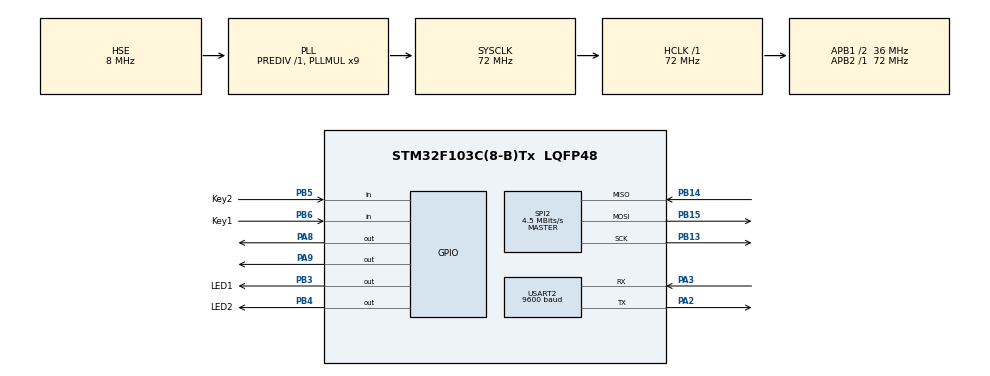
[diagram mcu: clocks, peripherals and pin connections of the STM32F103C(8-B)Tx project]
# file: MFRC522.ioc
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Mcu.Family=STM32F1
Mcu.Name=STM32F103C(8-B)Tx
Mcu.Package=LQFP48
NVIC.PriorityGroup=NVIC_PRIORITYGROUP_4
NVIC.USART2_IRQn=true\:0\:0\:false\:false\:true\:true\:true
PA13.Mode=Serial_Wire
PA13.Signal=SYS_JTMS-SWDIO
PA14.Mode=Serial_Wire
PA14.Signal=SYS_JTCK-SWCLK
PA2.Mode=Asynchronous
PA2.Signal=USART2_TX
PA3.Mode=Asynchronous
PA3.Signal=USART2_RX
PA8.Signal=GPIO_Output
PA9.Signal=GPIO_Output
PB13.Mode=Full_Duplex_Master
PB13.Signal=SPI2_SCK
PB14.Mode=Full_Duplex_Master
PB14.Signal=SPI2_MISO
PB15.Mode=Full_Duplex_Master
PB15.Signal=SPI2_MOSI
PB3.GPIO_Label=LED1
PB3.Signal=GPIO_Output
PB4.GPIO_Label=LED2
PB4.Signal=GPIO_Output
PB5.GPIO_Label=Key2
PB5.GPIO_PuPd=GPIO_PULLUP
PB5.Signal=GPIO_Input
PB6.GPIO_Label=Key1
PB6.GPIO_PuPd=GPIO_PULLUP
PB6.Signal=GPIO_Input
PD0-OSC_IN.Mode=HSE-External-Oscillator
PD0-OSC_IN.Signal=RCC_OSC_IN
PD1-OSC_OUT.Mode=HSE-External-Oscillator
PD1-OSC_OUT.Signal=RCC_OSC_OUT
ProjectManager.HeapSize=0x200
ProjectManager.StackSize=0x400
ProjectManager.TargetToolchain=MDK-ARM V5.27
RCC.AHBFreq_Value=72000000
RCC.APB1CLKDivider=RCC_HCLK_DIV2
RCC.APB1Freq_Value=36000000
RCC.APB1TimFreq_Value=72000000
RCC.APB2Freq_Value=72000000
RCC.APB2TimFreq_Value=72000000
RCC.HCLKFreq_Value=72000000
RCC.PLLMUL=RCC_PLL_MUL9
RCC.PLLSourceVirtual=RCC_PLLSOURCE_HSE
RCC.SYSCLKFreq_VALUE=72000000
RCC.SYSCLKSource=RCC_SYSCLKSOURCE_PLLCLK
RCC.USBFreq_Value=72000000
SPI2.BaudRatePrescaler=SPI_BAUDRATEPRESCALER_8
SPI2.CalculateBaudRate=4.5 MBits/s
SPI2.Direction=SPI_DIRECTION_2LINES
SPI2.Mode=SPI_MODE_MASTER
SPI2.VirtualType=VM_MASTER
USART2.BaudRate=9600
USART2.Mode=MODE_TX
USART2.VirtualMode=VM_ASYNC
board=custom

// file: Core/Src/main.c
/* USER CODE BEGIN Header */
/**
  ******************************************************************************
  * @file           : main.c
  * @brief          : Main program body
  ******************************************************************************
  * @attention
  *
  * <h2><center>&copy; Copyright (c) 2020 STMicroelectronics.
  * All rights reserved.</center></h2>
  *
  * This software component is licensed by ST under BSD 3-Clause license,
  * the "License"; You may not use this file except in compliance with the
  * License. You may obtain a copy of the License at:
  *                        opensource.org/licenses/BSD-3-Clause
  *
  ******************************************************************************
  */
/* USER CODE END Header */
#include "main.h"

/* USER CODE BEGIN Includes */
#include "stdio.h"
#include "stm32f1_rc522.h"
#include "stdio.h"
#include "string.h"
#include "lcd.h"
#include "delay.h"

/* USER CODE END Includes */

/* USER CODE BEGIN PD */
uint8_t sayi=0;
char data[32]=" ";

#define	Precise_Delay(x) {\
		uint32_t x1 = x * 72;\
		DWT->CYCCNT = 0;\
		while (DWT->CYCCNT < x1);\

/* USER CODE END PD */

SPI_HandleTypeDef hspi2;

UART_HandleTypeDef huart2;

/* USER CODE BEGIN PV */
//buton
uint8_t Key1;
uint8_t Key2;
uint8_t i;
uint8_t status;
uint8_t str[MAX_LEN]; // Max_LEN = 16

uint8_t serNum[5];
/*parolali islem icin kullanilacak*/
//char password[16]="123456"; //Max lenght of password is 16 charaters
//char keypass[16];
//int cnt=0;
/*parolali islem icin kullanilacak*/
uint8_t value = 0;
char str1[17]={'\0'};
char str2[17]={'\0'};
char str3[17]={'\0'};
char str4[17]={'\0'};
char tmp_str[65]={'\0'};
//uint8_t  BLOCK_ADDRS[] =  {1}; //{1, 2, 3};

/* USER CODE END PV */

void SystemClock_Config(void);
static void MX_GPIO_Init(void);
static void MX_SPI2_Init(void);
static void MX_USART2_UART_Init(void);

int main(void)
{

  /* MCU Configuration--------------------------------------------------------*/

  /* Reset of all peripherals, Initializes the Flash interface and the Systick. */
  HAL_Init();

  /* Configure the system clock */
  SystemClock_Config();

  /* Initialize all configured peripherals */
  MX_GPIO_Init();
  MX_SPI2_Init();
  MX_USART2_UART_Init();
  /* USER CODE BEGIN 2 */
  MFRC522_Init();

	while(DWT_Delay_Init());
	lcd_init();
	HAL_GPIO_WritePin(LED1_GPIO_Port, LED1_Pin, GPIO_PIN_RESET);
	HAL_GPIO_WritePin(LED2_GPIO_Port, LED2_Pin, GPIO_PIN_RESET);
	lcd_clear();
	//
	for (int i = 0; i < 16; i++){
		tmp_str[i] = 'A';
	}
	for (int i = 16; i < 32; i++){
		tmp_str[i] = 'B';
	}
	for (int i = 32; i < 48; i++){
		tmp_str[i] = 'C';
	}
	for (int i = 48; i < 64; i++){
		tmp_str[i] = 'D';
	}
	lcd_puts_long(tmp_str);
	DWT_Delay_ms(2000);
	lcd_clear();
	DWT_Delay_ms(1000);

	HAL_GPIO_WritePin(GPIOA, GPIO_PIN_8, GPIO_PIN_SET);
	HAL_Delay(100);
	MFRC522_Init();
	HAL_Delay(1000);
  /* USER CODE END 2 */

  /* Infinite loop */
  /* USER CODE BEGIN WHILE */
	uint8_t status, cardstr[MAX_LEN+1];
	uint8_t card_data[17];
	uint32_t delay_val = 1000; //ms
	uint16_t result = 0;
	uint8_t UID[5];

	// a private key to scramble data writing/reading to/from RFID card:
	uint8_t Mx1[7][5]={{0x12,0x45,0xF2,0xA8},{0xB2,0x6C,0x39,0x83},{0x55,0xE5,0xDA,0x18},{0x1F,0x09,0xCA,0x75},{0x99,0xA2,0x50,0xEC},{0x2C,0x88,0x7F,0x3D}};
	uint8_t SectorKey[7];
	//

	//status = Read_MFRC522(VersionReg);
		HAL_Delay(1000);
	sprintf(str1," RC522 CALISIYOR \n \r");
	HAL_UART_Transmit(&huart2,(uint8_t*)str1,strlen(str1),1000);
	HAL_Delay(1000);
	sprintf(str2,"BURAK KAAN SAHIN \n \r");
	HAL_UART_Transmit(&huart2,(uint8_t*)str2,strlen(str2),1000);
	HAL_Delay(1000);
	sprintf(str3,"201513152099 \n \r");
	HAL_UART_Transmit(&huart2,(uint8_t*)str3,strlen(str3),1000);
	HAL_Delay(1000);
	sprintf(str4,"ver: Bitirme Projesi \n \r");
	HAL_UART_Transmit(&huart2,(uint8_t*)str4,strlen(str4),1000);
	HAL_Delay(1000);

  while (1)
  {
		status = MFRC522_Request(PICC_REQIDL, str);	//MFRC522_Request(0x26, str)
		status = MFRC522_Anticoll(str);//Take a collision, look up 5 bytes
		memcpy(serNum, str, 5);//c dilinde karsiligi:(veri1:verilerin kaydedildigi konum ,veri2:verilerin kaynagi ,veri3:boyut)

				HAL_GPIO_WritePin(LED1_GPIO_Port,LED1_Pin, GPIO_PIN_SET);
				HAL_Delay(4);
				HAL_GPIO_WritePin(LED1_GPIO_Port,LED1_Pin, GPIO_PIN_RESET);
			  //LED1_GPIO_Port -> BSRR = LED1_Pin;
			  //LED1_GPIO_Port -> BRR = LED1_Pin;
			  for (int i = 0; i < 16; i++) {
				  cardstr[i] = 0;
			  }
				 status = 0;

			  status = MFRC522_Request(PICC_REQIDL, cardstr);
			  if(status == MI_OK) {
				  HAL_GPIO_WritePin(LED2_GPIO_Port,LED2_Pin, GPIO_PIN_RESET);
				  result = 0;
				  result++;
				  sprintf(str1,"Card:%x,%x,%x \n \r", cardstr[0], cardstr[1], cardstr[2]);
					HAL_UART_Transmit(&huart2,(uint8_t*)str1,strlen(str1),1000);
					HAL_Delay(100);
				  //
				  // Anti-collision, return card serial number == 4 bytes
				  HAL_Delay(1);
				  status = MFRC522_Anticoll(cardstr);
				  if(status == MI_OK) {
					  result++;
					  sprintf(str2,"UID:%x %x %x %x \n \r", cardstr[0], cardstr[1], cardstr[2], cardstr[3]);
						HAL_UART_Transmit(&huart2,(uint8_t*)str2,strlen(str2),1000);
					HAL_Delay(100);
					  UID[0] = cardstr[0];
					  UID[1] = cardstr[1];
					  UID[2] = cardstr[2];
					  UID[3] = cardstr[3];
					  UID[4] = cardstr[4];
					  //
					  HAL_Delay(1);
					  status = MFRC522_SelectTag(cardstr);
					  if (status > 0){
						  result++;
						  //
						  SectorKey[0] = ((Mx1[0][0])^(UID[0])) + ((Mx1[0][1])^(UID[1])) + ((Mx1[0][2])^(UID[2])) + ((Mx1[0][3])^(UID[3]));// 0x11; //KeyA[0]
						  SectorKey[1] = ((Mx1[1][0])^(UID[0])) + ((Mx1[1][1])^(UID[1])) + ((Mx1[1][2])^(UID[2])) + ((Mx1[1][3])^(UID[3]));// 0x11; //KeyA[0]
						  SectorKey[2] = ((Mx1[2][0])^(UID[0])) + ((Mx1[2][1])^(UID[1])) + ((Mx1[2][2])^(UID[2])) + ((Mx1[2][3])^(UID[3]));// 0x11; //KeyA[0]
						  SectorKey[3] = ((Mx1[3][0])^(UID[0])) + ((Mx1[3][1])^(UID[1])) + ((Mx1[3][2])^(UID[2])) + ((Mx1[3][3])^(UID[3]));// 0x11; //KeyA[0]
						  SectorKey[4] = ((Mx1[4][0])^(UID[0])) + ((Mx1[4][1])^(UID[1])) + ((Mx1[4][2])^(UID[2])) + ((Mx1[4][3])^(UID[3]));// 0x11; //KeyA[0]
						  SectorKey[5] = ((Mx1[5][0])^(UID[0])) + ((Mx1[5][1])^(UID[1])) + ((Mx1[5][2])^(UID[2])) + ((Mx1[5][3])^(UID[3]));// 0x11; //KeyA[0]
						  HAL_Delay(1);
						  status = MFRC522_Auth(0x60, 3, SectorKey, cardstr);
						  if (status == MI_OK){
							  result++;
							  sprintf(str3, "Auth. OK \n \r");
								HAL_UART_Transmit(&huart2,(uint8_t*)str3,strlen(str3),1000);
								HAL_Delay(100);
							  if (HAL_GPIO_ReadPin(Key2_GPIO_Port, Key2_Pin) == 0){
								  // Clean-Up the Card:

								  card_data[0] = 0xFF;
								  card_data[1] = 0xFF;
								  card_data[2] = 0xFF;
								  card_data[3] = 0xFF;
								  card_data[4] = 0xFF;
								  card_data[5] = 0xFF;
								  card_data[6] = 0xFF; //Access_bits[6]
								  card_data[7] = 0x07; //Access_bits[7]
								  card_data[8] = 0x80; //Access_bits[8]
								  card_data[9] = 0x88; //user_byte[9]
								  card_data[10] = 0x88; //user_byte[10]
								  card_data[11] = 0x88; //user_byte[11]
								  card_data[12] = 0x88; //user_byte[12]
								  card_data[13] = 0x88; //user_byte[13]
								  card_data[14] = 0x88; //user_byte[14]
								  card_data[15] = 0x88; //user_byte[15]
								  HAL_Delay(1);
								  status = MFRC522_Write(3, card_data);
								  if(status == MI_OK) {
									  result++;
									  sprintf(str1, "UID:%x %x %x %x \n \r", cardstr[0], cardstr[1], cardstr[2], cardstr[3]);
										HAL_UART_Transmit(&huart2,(uint8_t*)str1,strlen(str1),1000);
										HAL_Delay(100);
									  sprintf(str4, "KART SILINDI! \n \r");
										HAL_UART_Transmit(&huart2,(uint8_t*)str4,strlen(str4),1000);
								    HAL_Delay(1);
									  delay_val = 2000;
								  }

							  }
						  }
						  else{
							  for (int i = 0; i < 16; i++) {cardstr[i] = 0;}
							  status = 0;
							  // Find cards
							  HAL_Delay(1);
							  status = MFRC522_Request(PICC_REQIDL, cardstr);
							  HAL_Delay(1);
							  status = MFRC522_Anticoll(cardstr);
							  HAL_Delay(1);
							  status = MFRC522_SelectTag(cardstr);
							  SectorKey[0] = 0xFF;
							  SectorKey[1] = 0xFF;
							  SectorKey[2] = 0xFF;
							  SectorKey[3] = 0xFF;
							  SectorKey[4] = 0xFF;
							  SectorKey[5] = 0xFF;
							  HAL_Delay(1);
							  status = MFRC522_Auth(0x60, 3, SectorKey, cardstr);
							  if (status == MI_OK){
								  if (HAL_GPIO_ReadPin(Key1_GPIO_Port, Key1_Pin) == 0){
									  card_data[0] = ((Mx1[0][0])^(UID[0])) + ((Mx1[0][1])^(UID[1])) + ((Mx1[0][2])^(UID[2])) + ((Mx1[0][3])^(UID[3]));// 0x11; //KeyA[0]
									  card_data[1] = ((Mx1[1][0])^(UID[0])) + ((Mx1[1][1])^(UID[1])) + ((Mx1[1][2])^(UID[2])) + ((Mx1[1][3])^(UID[3]));// 0x11; //KeyA[0]
									  card_data[2] = ((Mx1[2][0])^(UID[0])) + ((Mx1[2][1])^(UID[1])) + ((Mx1[2][2])^(UID[2])) + ((Mx1[2][3])^(UID[3]));// 0x11; //KeyA[0]
									  card_data[3] = ((Mx1[3][0])^(UID[0])) + ((Mx1[3][1])^(UID[1])) + ((Mx1[3][2])^(UID[2])) + ((Mx1[3][3])^(UID[3]));// 0x11; //KeyA[0]
									  card_data[4] = ((Mx1[4][0])^(UID[0])) + ((Mx1[4][1])^(UID[1])) + ((Mx1[4][2])^(UID[2])) + ((Mx1[4][3])^(UID[3]));// 0x11; //KeyA[0]
									  card_data[5] = ((Mx1[5][0])^(UID[0])) + ((Mx1[5][1])^(UID[1])) + ((Mx1[5][2])^(UID[2])) + ((Mx1[5][3])^(UID[3]));// 0x11; //KeyA[0]
									  card_data[6] = 0xFF; //Access_bits[6]
									  card_data[7] = 0x07; //Access_bits[7]
									  card_data[8] = 0x80; //Access_bits[8]
									  card_data[9] = 0x88; //user_byte[9]
									  card_data[10] = 0x88; //user_byte[10]
									  card_data[11] = 0x88; //user_byte[11]
									  card_data[12] = 0x88; //user_byte[12]
									  card_data[13] = 0x88; //user_byte[13]
									  card_data[14] = 0x88; //user_byte[14]
									  card_data[15] = 0x88; //user_byte[15]
									  HAL_Delay(1);
									  status = MFRC522_Write(3, card_data);
									  if(status == MI_OK) {
										  result++;
										  sprintf(str3, "KART TANIMLANDI! \n \r");
											HAL_UART_Transmit(&huart2,(uint8_t*)str3,strlen(str3),1000);
											HAL_Delay(1);
										  delay_val = 2000;
									  }
								  }
								  else{

									  sprintf(str4, "YENI KART! \n \r");
										HAL_UART_Transmit(&huart2,(uint8_t*)str4,strlen(str4),1000);
								    HAL_Delay(1);
								  }
							  }
							  else if (status != MI_OK){
								  sprintf(str1, "Auth. Error \n \r");
									HAL_UART_Transmit(&huart2,(uint8_t*)str1,strlen(str1),1000);
									HAL_Delay(1);

							  }
						  }
						  HAL_Delay(1);
						  MFRC522_StopCrypto1();
					  }
				  }
					HAL_Delay(1);
				  MFRC522_Halt();
				  HAL_GPIO_WritePin(LED2_GPIO_Port,LED2_Pin, GPIO_PIN_SET);

				  DWT_Delay_ms(delay_val);
				  delay_val = 1000;
				  sprintf(str1, "BEKLEYIN \n \r           ");
					HAL_UART_Transmit(&huart2,(uint8_t*)str1,strlen(str1),1000);
					HAL_Delay(1);
				  sprintf(str2, "  BEKLEYIN \n \r         ");
					HAL_UART_Transmit(&huart2,(uint8_t*)str2,strlen(str2),1000);
					HAL_Delay(1);
					sprintf(str3, "    BEKLEYIN \n \r       ");
					HAL_UART_Transmit(&huart2,(uint8_t*)str3,strlen(str3),1000);
					HAL_Delay(1);
				  sprintf(str4, "      TAMAMLANDI \n \r     ");
					HAL_UART_Transmit(&huart2,(uint8_t*)str4,strlen(str4),1000);
					HAL_Delay(1);

			  }
			  else{
				  sprintf(str1, "    waiting for Card \n \r     ");
					HAL_UART_Transmit(&huart2,(uint8_t*)str1,strlen(str1),1000);
					HAL_Delay(1000);
					sprintf(str3, "    KARTI OKUTUN \n \r     ");
					HAL_UART_Transmit(&huart2,(uint8_t*)str3,strlen(str3),1000);
					HAL_Delay(10);

			  }

    /* USER CODE END WHILE */

  }
}

void SystemClock_Config(void)
{
  RCC_OscInitTypeDef RCC_OscInitStruct = {0};
  RCC_ClkInitTypeDef RCC_ClkInitStruct = {0};

  /** Initializes the RCC Oscillators according to the specified parameters
  * in the RCC_OscInitTypeDef structure.
  */
  RCC_OscInitStruct.OscillatorType = RCC_OSCILLATORTYPE_HSE;
  RCC_OscInitStruct.HSEState = RCC_HSE_ON;
  RCC_OscInitStruct.HSEPredivValue = RCC_HSE_PREDIV_DIV1;
  RCC_OscInitStruct.HSIState = RCC_HSI_ON;
  RCC_OscInitStruct.PLL.PLLState = RCC_PLL_ON;
  RCC_OscInitStruct.PLL.PLLSource = RCC_PLLSOURCE_HSE;
  RCC_OscInitStruct.PLL.PLLMUL = RCC_PLL_MUL9;
  if (HAL_RCC_OscConfig(&RCC_OscInitStruct) != HAL_OK)
  {
    Error_Handler();
  }
  /** Initializes the CPU, AHB and APB buses clocks
  */
  RCC_ClkInitStruct.ClockType = RCC_CLOCKTYPE_HCLK|RCC_CLOCKTYPE_SYSCLK
                              |RCC_CLOCKTYPE_PCLK1|RCC_CLOCKTYPE_PCLK2;
  RCC_ClkInitStruct.SYSCLKSource = RCC_SYSCLKSOURCE_PLLCLK;
  RCC_ClkInitStruct.AHBCLKDivider = RCC_SYSCLK_DIV1;
  RCC_ClkInitStruct.APB1CLKDivider = RCC_HCLK_DIV2;
  RCC_ClkInitStruct.APB2CLKDivider = RCC_HCLK_DIV1;

  if (HAL_RCC_ClockConfig(&RCC_ClkInitStruct, FLASH_LATENCY_2) != HAL_OK)
  {
    Error_Handler();
  }
}

static void MX_SPI2_Init(void)
{

  /* SPI2 parameter configuration*/
  hspi2.Instance = SPI2;
  hspi2.Init.Mode = SPI_MODE_MASTER;
  hspi2.Init.Direction = SPI_DIRECTION_2LINES;
  hspi2.Init.DataSize = SPI_DATASIZE_8BIT;
  hspi2.Init.CLKPolarity = SPI_POLARITY_LOW;
  hspi2.Init.CLKPhase = SPI_PHASE_1EDGE;
  hspi2.Init.NSS = SPI_NSS_SOFT;
  hspi2.Init.BaudRatePrescaler = SPI_BAUDRATEPRESCALER_8;
  hspi2.Init.FirstBit = SPI_FIRSTBIT_MSB;
  hspi2.Init.TIMode = SPI_TIMODE_DISABLE;
  hspi2.Init.CRCCalculation = SPI_CRCCALCULATION_DISABLE;
  hspi2.Init.CRCPolynomial = 10;
  if (HAL_SPI_Init(&hspi2) != HAL_OK)
  {
    Error_Handler();
  }

}

static void MX_USART2_UART_Init(void)
{

  huart2.Instance = USART2;
  huart2.Init.BaudRate = 9600;
  huart2.Init.WordLength = UART_WORDLENGTH_8B;
  huart2.Init.StopBits = UART_STOPBITS_1;
  huart2.Init.Parity = UART_PARITY_NONE;
  huart2.Init.Mode = UART_MODE_TX;
  huart2.Init.HwFlowCtl = UART_HWCONTROL_NONE;
  huart2.Init.OverSampling = UART_OVERSAMPLING_16;
  if (HAL_UART_Init(&huart2) != HAL_OK)
  {
    Error_Handler();
  }

}

static void MX_GPIO_Init(void)
{
  GPIO_InitTypeDef GPIO_InitStruct = {0};

  /* GPIO Ports Clock Enable */
  __HAL_RCC_GPIOD_CLK_ENABLE();
  __HAL_RCC_GPIOA_CLK_ENABLE();
  __HAL_RCC_GPIOB_CLK_ENABLE();

  /*Configure GPIO pin Output Level */
  HAL_GPIO_WritePin(GPIOA, GPIO_PIN_8|GPIO_PIN_9, GPIO_PIN_RESET);

  /*Configure GPIO pin Output Level */
  HAL_GPIO_WritePin(GPIOB, LED1_Pin|LED2_Pin, GPIO_PIN_RESET);

  /*Configure GPIO pins : PA8 PA9 */
  GPIO_InitStruct.Pin = GPIO_PIN_8|GPIO_PIN_9;
  GPIO_InitStruct.Mode = GPIO_MODE_OUTPUT_PP;
  GPIO_InitStruct.Pull = GPIO_NOPULL;
  GPIO_InitStruct.Speed = GPIO_SPEED_FREQ_LOW;
  HAL_GPIO_Init(GPIOA, &GPIO_InitStruct);

  /*Configure GPIO pins : LED1_Pin LED2_Pin */
  GPIO_InitStruct.Pin = LED1_Pin|LED2_Pin;
  GPIO_InitStruct.Mode = GPIO_MODE_OUTPUT_PP;
  GPIO_InitStruct.Pull = GPIO_NOPULL;
  GPIO_InitStruct.Speed = GPIO_SPEED_FREQ_LOW;
  HAL_GPIO_Init(GPIOB, &GPIO_InitStruct);

  /*Configure GPIO pins : Key2_Pin Key1_Pin */
  GPIO_InitStruct.Pin = Key2_Pin|Key1_Pin;
  GPIO_InitStruct.Mode = GPIO_MODE_INPUT;
  GPIO_InitStruct.Pull = GPIO_PULLUP;
  HAL_GPIO_Init(GPIOB, &GPIO_InitStruct);

}

void Error_Handler(void)
{
}
